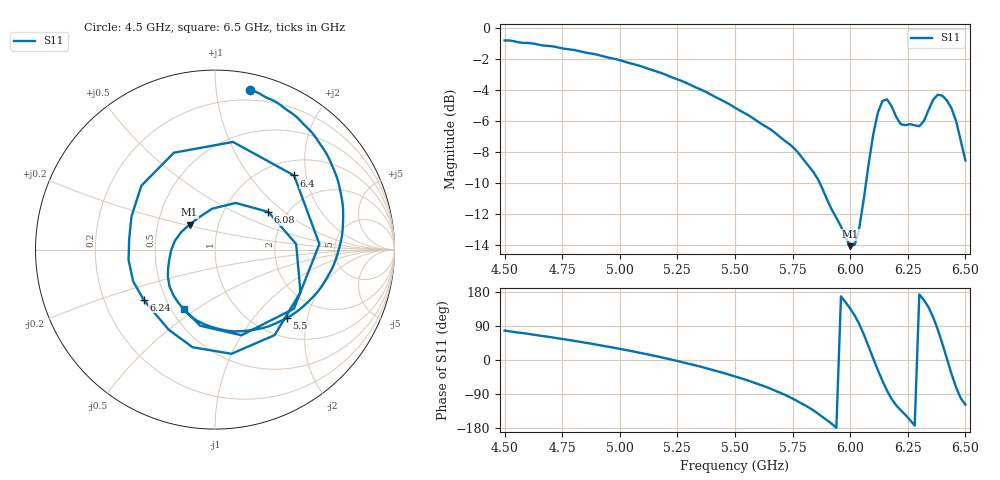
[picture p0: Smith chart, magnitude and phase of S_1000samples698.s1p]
! TOUCHSTONE file generated by CST MICROWAVE STUDIO
! Date and time: Sat Oct 29 01:56:08 2022
! Project name: L.cst
! Parameters = {Di=1.27; Epsilon_r=1.56; InnerDiameter=1.27; Length=2; Lf=10; Lg=60; OuterConductorThickness=0.2921; OuterDiameter=3.6; Wf=3; Wp=41.2; de=1.5; df=6.8; g=0.8; gx=1.28093; gy=2.5112; h=2.34; hf=1.524; px=9.7459; py=13.5455; w=9.7; wx=8.46497; wy=11.0343}
! Header version: 2018
! Port assignment regex: !\s*Touchstone port\s*([0-9]+)\s*=\s*(CST MWS port|CST DS port)\s*([0-9]+|Zmin|Zmax)\s*\(\"(.*)\"\)(\s*mode\s*([0-9]+))?.*
! Touchstone port assignment:
! Touchstone port 1 = CST MWS port 1 ("")
# GHz S DB R 50
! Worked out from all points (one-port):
!   101 points, 4.5 GHz to 6.5 GHz, reference 50 ohm
!   lowest |S11| = -14.1 dB at 6 GHz (marker M1), VSWR 1.49, Z = 36.3 + j10.5 ohm
!   |S11| at or under -10 dB: 5.868 GHz to 6.069 GHz (200.9 MHz wide, 3.37 % of centre)
!   S11 on the Smith chart (normalised r, x): 4.5 GHz: 0.12, +1.24; 5.5 GHz: 1.38, -1.51; 6.08 GHz: 1.61, +0.78; 6.24 GHz: 0.38, -0.27; 6.4 GHz: 1.31, +1.71; 6.5 GHz: 0.58, -0.44
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4.5  -0.83 77.6
4.76  -1.36 54.6
5  -2.10 29.4
5.26  -3.38 -4.0
5.5  -5.15 -43.4
5.64  -6.42 -72.3
5.76  -7.81 -105.0
5.88  -10.38 -150.3
6  -14.06 135.5
6.04  -12.83 94.1
6.08  -8.78 35.3
6.1  -6.87 3.9
6.12  -5.48 -26.5
6.14  -4.72 -55.1
6.16  -4.62 -81.0
6.2  -5.75 -119.9
6.24  -6.28 -145.1
6.26  -6.21 -158.8
6.3  -6.34 173.0
6.34  -5.30 139.1
6.36  -4.64 113.0
6.38  -4.32 80.5
6.4  -4.38 43.1
6.42  -4.70 3.0
6.44  -5.20 -36.8
6.46  -6.03 -72.8
6.48  -7.29 -101.0
6.5  -8.55 -117.8
